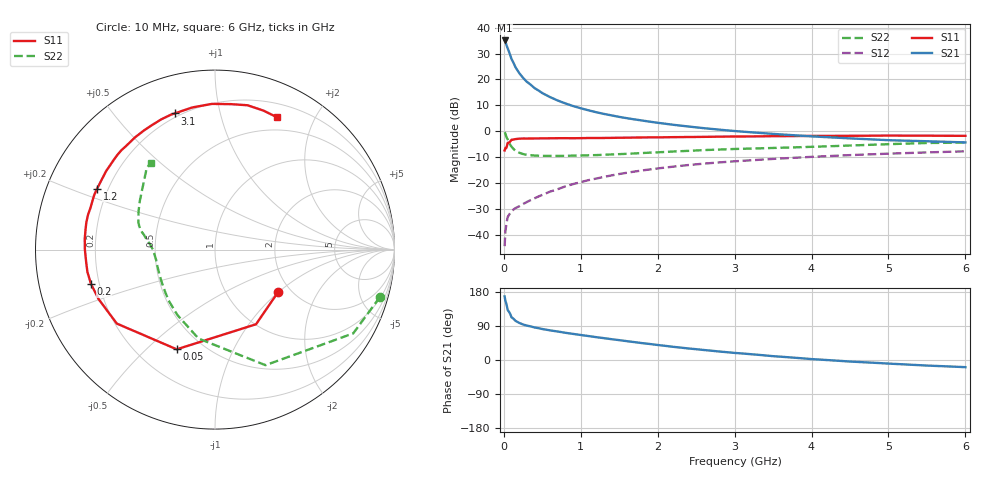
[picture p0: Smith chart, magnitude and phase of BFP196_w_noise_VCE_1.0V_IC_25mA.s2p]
! Infineon Technologies  Discrete & RF Semiconductors
! BFP196
! VCE =  1.0 V,  IC =  25 mA
! Common Emitter S-Parameters:  Jan 2017
# GHz  S  MA  R  50
!  f  S11  S21  S12  S22
! GHz  MAG  ANG  MAG  ANG  MAG  ANG  MAG  ANG
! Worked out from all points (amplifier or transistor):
!   77 points, 10 MHz to 6 GHz, reference 50 ohm
!   highest |S21| = 35.1 dB at 10 MHz (marker M1)
!   |S21| within 3 dB of that: start of sweep to 49.18 MHz
!   unconditionally stable (mu >= 1): 656.4 MHz to 2.744 GHz
!   at 130 MHz: K = 0.46, MSG = 28.2 dB, |S12| = -30.2 dB
!   at 2.2 GHz: K = 1.02, MAG = 7.2 dB, |S12| = -13.7 dB
!   at 6 GHz: K = 0.98, MSG = 1.7 dB, |S12| = -7.8 dB
!   lowest NFmin = 1.15 dB at 450 MHz
!   S11 on the Smith chart (normalised r, x): 10 MHz: 1.74, -0.99; 50 MHz: 0.36, -0.62; 200 MHz: 0.17, -0.13; 1.2 GHz: 0.16, +0.24; 3.1 GHz: 0.18, +0.73; 6 GHz: 0.35, +1.51
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0.01  0.4238 -33.5  56.76 167.8  0.006 80.6  0.9563 -16.0
0.02  0.4746 -61.2  53.96 156.6  0.0115 71.6  0.9006 -31.2
0.05  0.5951 -111.0  39.89 131.9  0.0219 51.8  0.7027 -66.4
0.1  0.6848 -143.0  24.8 112.5  0.0285 43.6  0.5039 -100.5
0.15  0.7049 -157.0  17.39 103.6  0.0326 42.3  0.4208 -119.8
0.2  0.7169 -164.5  13.29 97.8  0.0354 44.3  0.3835 -132.4
0.25  0.7217 -170.1  10.73 93.7  0.0391 46.8  0.3617 -140.9
0.3  0.7212 -174.1  8.995 90.7  0.0429 49.1  0.3496 -147.5
0.4  0.725 179.9  6.808 85.8  0.0506 53.6  0.3387 -156.2
0.5  0.7281 175.2  5.455 81.8  0.0588 55.6  0.3346 -162.0
0.6  0.7298 171.3  4.571 78.2  0.0679 56.9  0.3343 -166.4
0.7  0.7327 168.1  3.923 75.2  0.0758 58.2  0.3328 -169.7
0.9  0.7317 161.4  3.064 68.9  0.0951 58.3  0.3371 -174.5
1.1  0.7387 155.5  2.534 63.2  0.1134 57.8  0.3426 -178.3
1.2  0.7393 152.6  2.329 60.3  0.1215 57.1  0.3455 -180.0
1.6  0.7496 141.4  1.784 49.7  0.1575 53.2  0.3656 174.8
2.1  0.7634 128.1  1.393 37.3  0.1985 47.0  0.3979 169.3
2.6  0.7778 116.6  1.145 26.4  0.2361 40.5  0.4317 164.6
3.1  0.7911 106.5  0.982 17.2  0.2677 34.0  0.4573 159.0
4.1  0.8115 89.7  0.781 1.2  0.3243 22.1  0.5047 145.5
5.1  0.8226 76.0  0.664 -10.5  0.3723 10.6  0.5676 133.3
6  0.8141 65.0  0.608 -18.9  0.4087 0.7  0.6022 126.4
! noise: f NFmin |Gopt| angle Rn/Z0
0.45  1.15  0.34  164  0.05
0.9  1.34  0.45  -176  0.06
1.9  2.21  0.68  -136  0.24
2.4  2.64  0.71  -122  0.59
